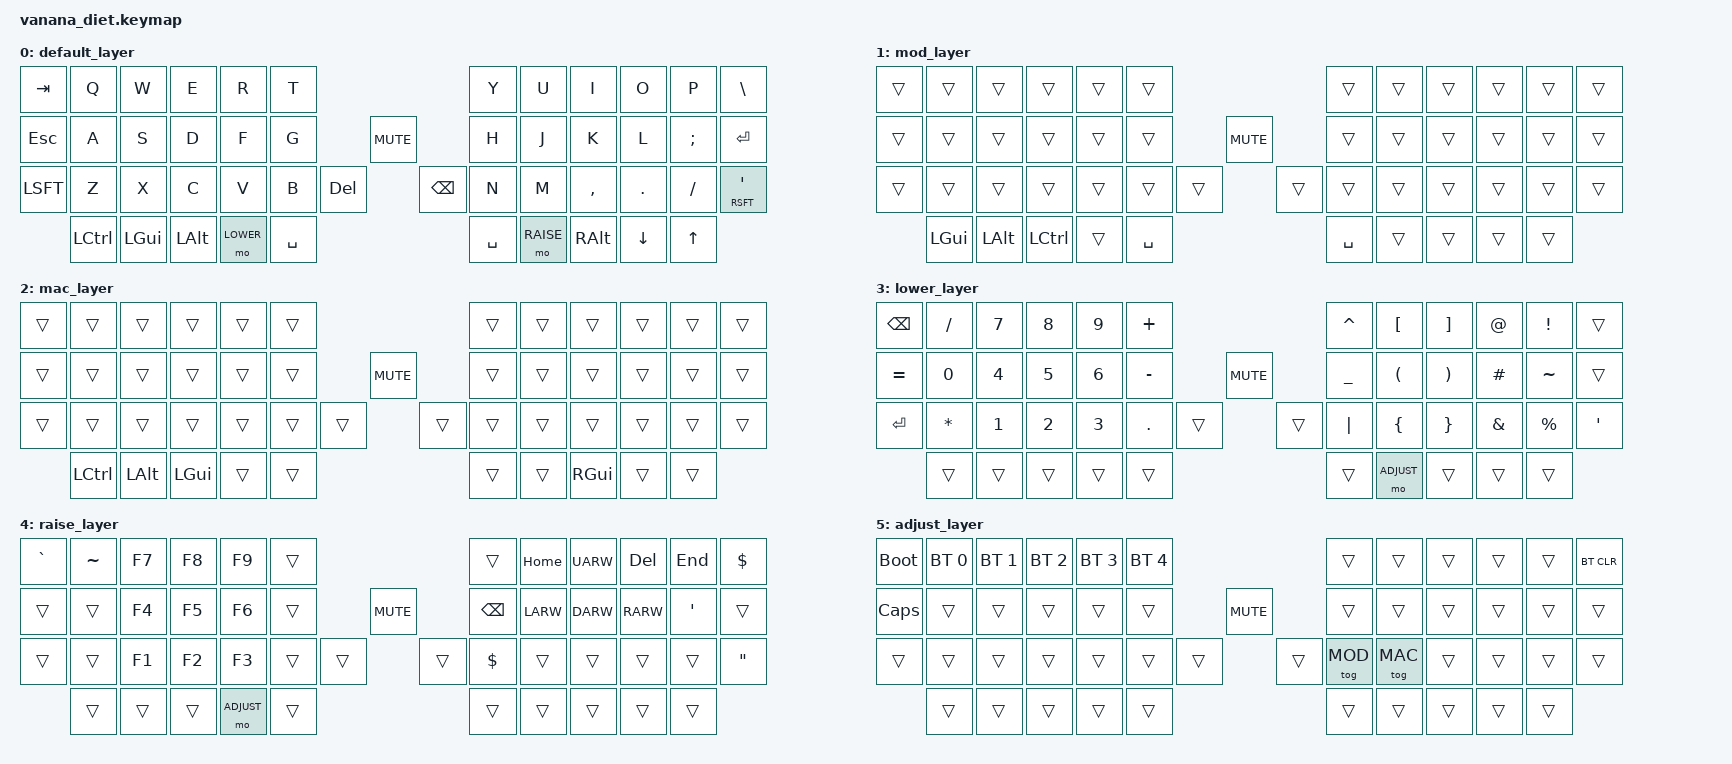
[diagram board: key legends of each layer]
/*
 * Copyright (c) 2020 dELLIKEEb
 *
 * SPDX-License-Identifier: MIT
 */

#include <behaviors.dtsi>
#include <dt-bindings/zmk/keys.h>
#include <dt-bindings/zmk/bt.h>
#include <dt-bindings/zmk/pointing.h>
#include <input/processors.dtsi>

// custom keycode defs for easier access
#define DEFAULT 0
#define MOD     1
#define MAC     2
#define LOWER   3
#define RAISE   4
#define ADJUST  5

// / {
//     behaviors {
//         hm: homerow_mods {
//             compatible = "zmk,behavior-hold-tap";
//             label = "homerow mods";
//             #binding-cells = <2>;
//             tapping_term_ms = <225>;
//             flavor = "tap-preferred";
//             bindings = <&kp>, <&kp>;
//         };
//     };
// };

// BASE
// -------------------------------------------               -------------------------------------------
// |   `  |   1  |   2  |   3  |   4  |   5  |               |   6  |   7  |   8  |   9  |   0  | Bksp |
// -------------------------------------------               -------------------------------------------
// | Tab  |   Q  |   W  |   E  |   R  |   T  |               |   Y  |   U  |   I  |   O  |   P  | Del  |
// -------------------------------------------   ---------  --------------------------------------------
// | Esc  |   A  |   S  |   D  |   F  |   G  |   | Right |   |   H  |   J  |   K  |   L  |   ;  |Enter |
// -------------------------------------------   ---------   -------------------------------------------
// | Shift|   Z  |   X  |   C  |   V  |   B  |   | LEFT  |   |   N  |   M  |   ,  |   .  |   /  | "    |
// -------------------------------------------   ---------   -------------------------------------------
//        | Ctrl | GUI  |  Alt |Lower |Space |               |Space |Raise |Alt   | DOWN | UP   |
//        ------------------------------------               ------------------------------------
// 

/ {
    keymap {
        compatible = "zmk,keymap";

        default_layer {
            bindings = <
                &kp TAB     &kp Q       &kp W       &kp E       &kp R     &kp T                                             &kp Y       &kp U       &kp I       &kp O       &kp P       &kp BSLH
                &kp ESC     &kp A       &kp S       &kp D       &kp F     &kp G                    &kp C_MUTE               &kp H       &kp J       &kp K       &kp L       &kp SCLN    &kp RET
                &kp LSFT    &kp Z       &kp X       &kp C       &kp V     &kp B         &kp DEL                 &kp BSPC    &kp N       &kp M       &kp CMMA    &kp DOT     &kp FSLH    &mt RSFT SQT
                            &kp LCTL    &kp LGUI    &kp LALT    &mo LOWER &kp SPC                                           &kp SPC     &mo RAISE   &kp RALT    &kp DOWN    &kp UP
            >;

        };

        mod_layer {
            bindings = <
                &trans      &trans      &trans      &trans      &trans      &trans                                          &trans      &trans      &trans      &trans      &trans      &trans
                &trans      &trans      &trans      &trans      &trans      &trans                 &kp C_MUTE               &trans      &trans      &trans      &trans      &trans      &trans
                &trans      &trans      &trans      &trans      &trans      &trans      &trans                  &trans      &trans      &trans      &trans      &trans      &trans      &trans 
                            &kp LGUI    &kp LALT    &kp LCTL    &trans      &kp SPC                                         &kp SPC     &trans      &trans      &trans      &trans
            >;

        };

        mac_layer {
            bindings = <
                &trans      &trans      &trans      &trans      &trans      &trans                                          &trans      &trans      &trans      &trans      &trans      &trans
                &trans      &trans      &trans      &trans      &trans      &trans                &kp C_MUTE                &trans      &trans      &trans      &trans      &trans      &trans
                &trans      &trans      &trans      &trans      &trans      &trans      &trans                  &trans      &trans      &trans      &trans      &trans      &trans      &trans 
                            &kp LCTL    &kp LALT    &kp LGUI    &trans      &trans                                          &trans      &trans      &kp RGUI    &trans      &trans
            >;

        };

        lower_layer {
            bindings = < 
                &kp BKSP    &kp FSLH    &kp NUM_7   &kp NUM_8   &kp NUM_9   &kp PLUS                                        &kp CARET   &kp LBKT    &kp RBKT    &kp AT      &kp EXCL    &trans 
                &kp EQUAL   &kp NUM_0   &kp NUM_4   &kp NUM_5   &kp NUM_6   &kp MINUS              &kp C_MUTE               &kp UNDER   &kp LPAR    &kp RPAR    &kp HASH    &kp TILDE   &trans 
                &kp RET     &kp STAR    &kp NUM_1   &kp NUM_2   &kp NUM_3   &kp DOT      &trans                 &trans      &kp PIPE    &kp LBRC    &kp RBRC    &kp AMPS    &kp PRCNT   &kp SQT
                            &trans      &trans      &trans      &trans      &trans                                          &trans      &mo ADJUST  &trans      &trans      &trans
            >;
 
        };

        raise_layer {
            bindings = <
                &kp GRAV    &kp TILDE   &kp F7      &kp F8    &kp F9      &trans                                          &trans      &kp HOME    &kp UARW    &kp DEL     &kp END     &kp DOLLAR
                &trans      &trans      &kp F4      &kp F5    &kp F6      &trans                  &kp C_MUTE              &kp BSPC    &kp LARW    &kp DARW    &kp RARW    &kp APOS    &trans 
                &trans      &trans      &kp F1      &kp F2    &kp F3      &trans       &trans                  &trans     &kp DOLLAR  &trans      &trans      &trans      &trans      &kp DQT 
                            &trans      &trans      &trans    &mo ADJUST  &trans                                          &trans      &trans      &trans      &trans      &trans
            >;
            
        };
        
        adjust_layer {
            bindings = <     
                &bootloader &bt BT_SEL 0    &bt BT_SEL 1    &bt BT_SEL 2    &bt BT_SEL 3    &bt BT_SEL 4                                                &trans          &trans          &trans          &trans          &trans           &bt BT_CLR     
                &kp CAPS    &trans          &trans          &trans          &trans          &trans                         &kp C_MUTE                   &trans          &trans          &trans          &trans          &trans           &trans  
                &trans      &trans          &trans          &trans          &trans          &trans              &trans                    &trans        &tog MOD        &tog MAC        &trans          &trans          &trans           &trans  
                            &trans          &trans          &trans          &trans          &trans                                                      &trans          &trans          &trans          &trans          &trans
            >;
        };

    };
};

